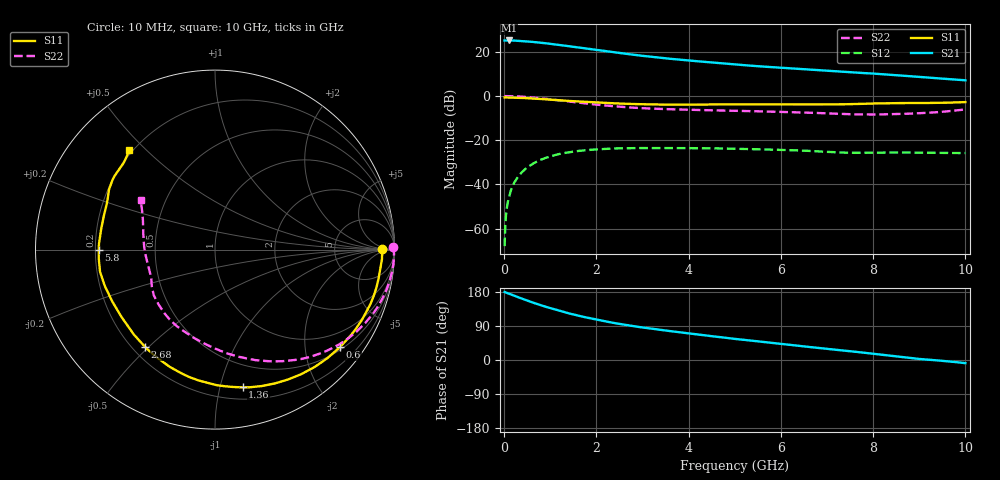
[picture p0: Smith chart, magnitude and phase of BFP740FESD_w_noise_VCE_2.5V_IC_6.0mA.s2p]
! Infineon Technologies  Discrete & RF Semiconductors
! BFP740FESD
! VCE =  2.5 V,  IC =  6.0 mA
! Common Emitter S-Parameters:  Jan 2016
# GHz  S  MA  R  50
!  f  S11  S21  S12  S22
! GHz  MAG  ANG  MAG  ANG  MAG  ANG  MAG  ANG
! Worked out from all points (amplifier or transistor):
!   233 points, 10 MHz to 10 GHz, reference 50 ohm
!   highest |S21| = 25.2 dB at 100 MHz (marker M1)
!   |S21| within 3 dB of that: start of sweep to 1.546 GHz
!   unconditionally stable (mu >= 1): 6.923 GHz to end of sweep
!   at 200 MHz: K = 0.02, MSG = 32.6 dB, |S12| = -40.0 dB
!   at 1.74 GHz: K = 0.21, MSG = 23.1 dB, |S12| = -24.6 dB
!   at 10 GHz: K = 1.45, MAG = 12.5 dB, |S12| = -25.8 dB
!   lowest NFmin = 0.52 dB at 450 MHz
!   S11 on the Smith chart (normalised r, x): 10 MHz: 27, +1; 600 MHz: 0.57, -2.81; 1.36 GHz: 0.30, -1.18; 2.68 GHz: 0.25, -0.49; 5.8 GHz: 0.21, -0.00; 10 GHz: 0.19, +0.44
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0.01  0.9294 0.2  18.15 179.5  0.0004 51.3  0.9891 0.8
0.025  0.9315 -1.7  18.08 178.7  0.0012 84.8  0.9978 -1.1
0.045  0.9316 -3.0  18.07 177.7  0.0023 85.0  0.9979 -2.0
0.1  0.9272 -6.5  18.17 175.4  0.0049 87.0  0.9972 -4.5
0.2  0.9241 -13.0  18.11 170.6  0.01 82.4  0.9909 -9.0
0.34  0.9122 -22.0  17.79 164.0  0.0168 76.8  0.9756 -15.2
0.6  0.8834 -37.9  16.93 152.3  0.0285 67.2  0.932 -25.9
0.9  0.8446 -55.1  15.7 140.5  0.0399 57.1  0.8689 -37.6
1.1  0.8171 -65.8  14.82 133.2  0.0461 50.9  0.8218 -44.9
1.36  0.782 -78.7  13.66 124.4  0.0525 43.6  0.7614 -53.8
1.68  0.7453 -92.7  12.32 114.9  0.0583 35.7  0.695 -63.5
1.94  0.7213 -102.4  11.29 108.1  0.0615 30.5  0.65 -70.7
2.2  0.7 -111.2  10.39 101.8  0.0637 25.8  0.6122 -77.4
2.68  0.6673 -125.6  8.957 91.7  0.0661 18.5  0.5567 -88.7
3  0.6545 -133.7  8.156 85.7  0.0666 14.5  0.5318 -95.0
3.4  0.6428 -142.1  7.335 79.4  0.0665 10.7  0.5115 -101.2
4.1  0.641 -154.8  6.262 68.8  0.0662 5.3  0.4877 -110.5
5.1  0.6511 -170.4  5.108 54.5  0.0639 -1.1  0.4616 -124.1
5.8  0.647 -179.9  4.524 45.3  0.0615 -4.6  0.4431 -133.0
6.8  0.6452 165.5  3.864 32.0  0.056 -7.6  0.4141 -147.1
8.4  0.6906 145.7  3.028 10.9  0.0528 -2.9  0.3899 -177.1
10  0.7306 130.8  2.279 -8.3  0.0512 -1.8  0.4978 146.2
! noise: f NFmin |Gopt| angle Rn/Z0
0.45  0.52  0.43  5  0.12
2.4  0.63  0.27  44  0.11
5.5  0.81  0.38  128  0.08
10  1.5  0.42  -139  0.13
